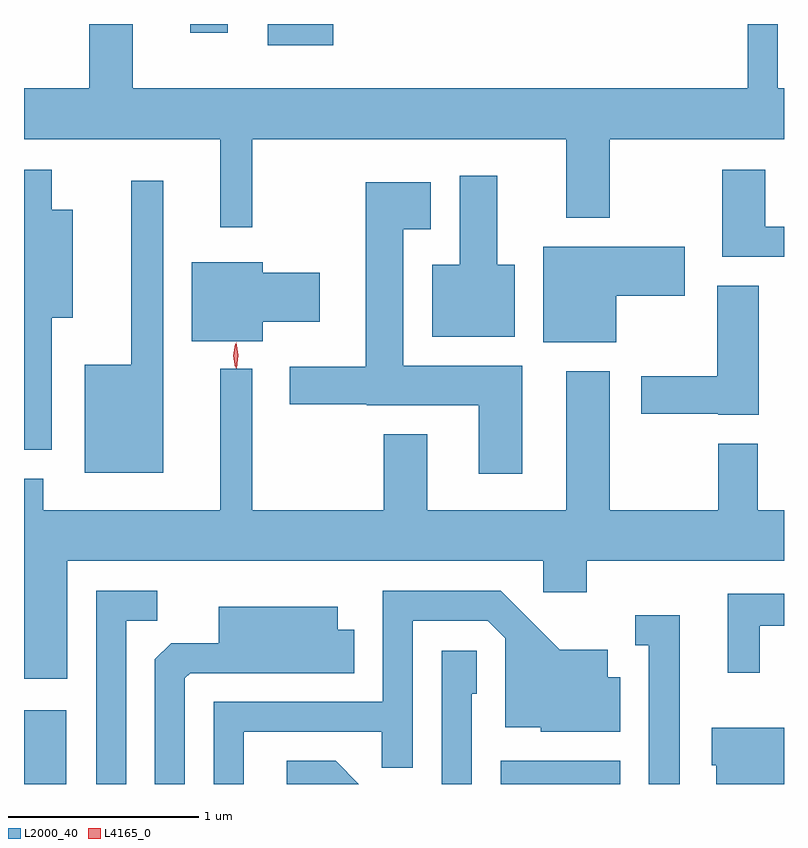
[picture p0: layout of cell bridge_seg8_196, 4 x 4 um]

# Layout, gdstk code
import gdstk
lib = gdstk.Library(unit=1e-6, precision=1e-09)
def R(c, l, rs):  # rectangles x0, y0, x1, y1
    for r in rs: c.add(gdstk.rectangle(r[:2], r[2:], *l))
def P(c, l, *ps):  # polygons
    for p in ps: c.add(gdstk.Polygon(p, *l))
L2000_40 = (2000, 40)
L4165_0 = (4165, 0)

bridge_seg8_196 = lib.new_cell('bridge_seg8_196')
R(bridge_seg8_196, L2000_40, [(1166.247,1904.062,1166.469,1904.449), (1168.756,1904.062,1169.384,1904.184), (1167.531,1907.951,1167.874,1908.062), (1167.121,1908.016,1167.319,1908.062)])
P(bridge_seg8_196, L2000_40, [(1167.449,1907.456),(1169.101,1907.456),(1169.101,1907.041),(1169.329,1907.041),(1169.329,1907.456),(1170.247,1907.456),(1170.247,1907.724),(1170.214,1907.724),(1170.214,1908.062),(1170.056,1908.062),(1170.056,1907.724),(1166.819,1907.724),(1166.819,1908.062),(1166.591,1908.062),(1166.591,1907.724),(1166.247,1907.724),(1166.247,1907.456),(1167.281,1907.456),(1167.281,1906.993),(1167.449,1906.993)],
  [(1170.247,1906.994),(1170.149,1906.994),(1170.149,1907.294),(1169.921,1907.294),(1169.921,1906.836),(1170.247,1906.836)],
  [(1166.394,1906.516),(1166.504,1906.516),(1166.504,1907.084),(1166.394,1907.084),(1166.394,1907.294),(1166.247,1907.294),(1166.247,1905.821),(1166.394,1905.821)],
  [(1168.829,1906.794),(1168.739,1906.794),(1168.739,1907.264),(1168.541,1907.264),(1168.541,1906.794),(1168.396,1906.794),(1168.396,1906.416),(1168.829,1906.416)],
  [(1166.979,1907.238),(1166.811,1907.238),(1166.811,1906.269),(1166.566,1906.269),(1166.566,1905.701),(1166.979,1905.701)],
  [(1168.869,1906.264),(1168.244,1906.264),(1168.244,1906.981),(1168.389,1906.981),(1168.389,1907.229),(1168.046,1907.229),(1168.046,1906.259),(1167.646,1906.259),(1167.646,1906.061),(1168.05,1906.061),(1168.05,1906.056),(1168.641,1906.056),(1168.641,1905.696),(1168.869,1905.696)],
  [(1169.364,1906.631),(1169.724,1906.631),(1169.724,1906.889),(1168.981,1906.889),(1168.981,1906.386),(1169.364,1906.386)],
  [(1167.504,1906.496),(1167.804,1906.496),(1167.804,1906.754),(1167.504,1906.754),(1167.504,1906.809),(1167.131,1906.809),(1167.131,1906.391),(1167.504,1906.391)],
  [(1170.114,1906.684),(1169.896,1906.684),(1169.896,1906.209),(1169.496,1906.209),(1169.496,1906.011),(1169.9,1906.011),(1169.9,1906.006),(1170.114,1906.006)],
  [(1166.474,1905.236),(1168.981,1905.236),(1168.981,1905.071),(1169.209,1905.071),(1169.209,1905.236),(1170.247,1905.236),(1170.247,1905.504),(1170.109,1905.504),(1170.109,1905.854),(1169.901,1905.854),(1169.901,1905.504),(1169.329,1905.504),(1169.329,1906.234),(1169.101,1906.234),(1169.101,1905.504),(1168.369,1905.504),(1168.369,1905.904),(1168.141,1905.904),(1168.141,1905.504),(1167.449,1905.504),(1167.449,1906.248),(1167.281,1906.248),(1167.281,1905.504),(1166.349,1905.504),(1166.349,1905.669),(1166.247,1905.669),(1166.247,1904.616),(1166.474,1904.616)],
  [(1167.404,1904.336),(1168.131,1904.336),(1168.131,1904.148),(1168.294,1904.148),(1168.294,1904.921),(1168.689,1904.921),(1168.781,1904.829),(1168.781,1904.361),(1168.966,1904.361),(1168.966,1904.336),(1169.384,1904.336),(1169.384,1904.624),(1169.319,1904.624),(1169.319,1904.769),(1169.067,1904.769),(1168.757,1905.079),(1168.136,1905.079),(1168.136,1904.494),(1167.246,1904.494),(1167.246,1904.062),(1167.404,1904.062)],
  [(1166.784,1904.921),(1166.948,1904.921),(1166.948,1905.079),(1166.626,1905.079),(1166.626,1904.062),(1166.784,1904.062)],
  [(1170.119,1904.896),(1170.247,1904.896),(1170.247,1905.064),(1169.951,1905.064),(1169.951,1904.648),(1170.119,1904.648)],
  [(1167.094,1904.619),(1167.122,1904.646),(1167.984,1904.646),(1167.984,1904.874),(1167.899,1904.874),(1167.899,1904.994),(1167.271,1904.994),(1167.271,1904.804),(1167.022,1904.804),(1166.936,1904.719),(1166.936,1904.062),(1167.094,1904.062)],
  [(1169.699,1904.949),(1169.463,1904.949),(1169.463,1904.791),(1169.536,1904.791),(1169.536,1904.062),(1169.699,1904.062)],
  [(1168.604,1904.536),(1168.629,1904.536),(1168.629,1904.764),(1168.446,1904.764),(1168.446,1904.062),(1168.604,1904.062)],
  [(1170.247,1904.359),(1169.866,1904.359),(1169.866,1904.161),(1169.891,1904.161),(1169.891,1904.062),(1170.247,1904.062)],
  [(1167.887,1904.184),(1167.631,1904.184),(1167.631,1904.062),(1168.009,1904.062)])
P(bridge_seg8_196, L4165_0, [(1167.364,1906.25),(1167.354,1906.318),(1167.363,1906.386),(1167.364,1906.386),(1167.364,1906.386),(1167.374,1906.318),(1167.366,1906.25),(1167.365,1906.25)],
  [(1167.358,1906.252),(1167.358,1906.253),(1167.348,1906.316),(1167.358,1906.379),(1167.358,1906.38),(1167.359,1906.379),(1167.368,1906.316),(1167.359,1906.253)])

lib.write_gds('bridge_seg8_196.gds')
